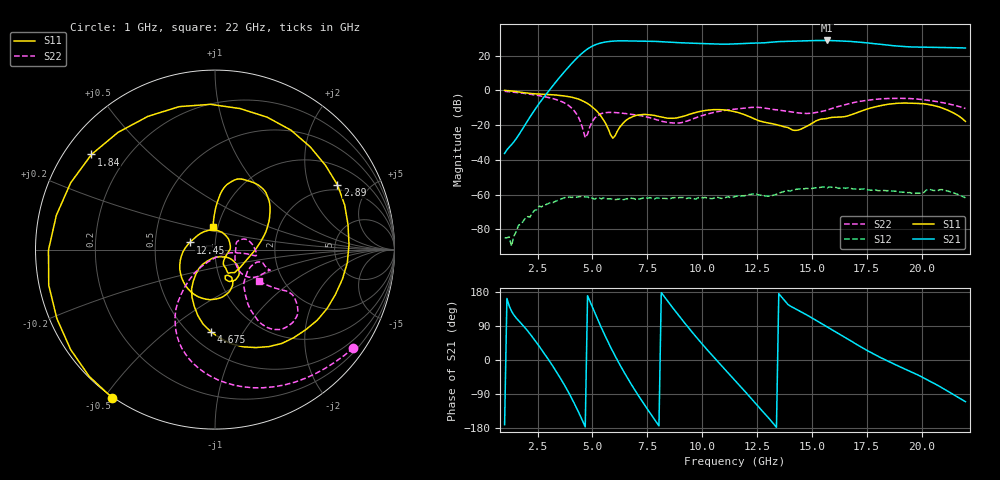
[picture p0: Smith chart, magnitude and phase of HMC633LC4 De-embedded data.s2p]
! Chelmsford, MA 01824
! http://www.hittite.com
! Tel: 978-250-3343
! Fax: 978-250-3373
! Device  :  HMC633LC4
! Description:  GaAs PHEMT MMIC DRIVER Amplifier
! Frequency  :  2.3 - 2.7 GHz
! Package  :  LC4  - 4x4 mm QFN Ceramic High frequency SMT Package: 24 pin
! Ports  :  2 RF, 2 DC
!  Pin  3 = Rfin = Port 1
!  Pin 16 = Rfout = Port 2
!  Pin 24 = Vdd1
!  Pin 22 = vdd2
!  Pin 20 = Vdd3
!  Pin 19 = Vdd4
!  Pin 9  = vgg
! Voltages:  Vdd1-4  = 5.0 Volts
!  vgg = -2 to 0.0 volts
! Currents :  Idd  = 180.0 mA
! Data:  The device was measured on evaluation board 115855-1.
!  Data was collected using a calibrated network analyzer.
!  The evaluation circuit board was modeled and simulated.  This was use
!  to removed the evaluation board circuit from the measured data.
!  The reference plane is the center of the package pin.
! Misc:  Lot # GB64
!Date Measured:  12-05-2008
! Date:  12-09-2008
! Note:
!  Hittite Microwave supplies this data as a sample of measured data at the
!  package pin for this package product.  Your particular data for this product
!  may vary.
!  Data was taken at 25 degrees C.
!  Hittite Microwave reserves the right to change this data at anytime.
# MHz S MA R 50
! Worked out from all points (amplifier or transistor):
!   201 points, 1 GHz to 22 GHz, reference 50 ohm
!   highest |S21| = 28.8 dB at 15.7 GHz (marker M1)
!   |S21| within 3 dB of that: 5.045 GHz to 18.7 GHz (13.66 GHz wide, 115 % of centre)
!   unconditionally stable (mu >= 1): 1.101 GHz to end of sweep
!   at 4.465 GHz: K = 36.87, MAG = 22.2 dB, |S12| = -61.1 dB
!   at 11.5 GHz: K = 22.37, MAG = 27.5 dB, |S12| = -61.1 dB
!   at 22 GHz: K = 33.18, MAG = 24.9 dB, |S12| = -61.8 dB
!   S11 on the Smith chart (normalised r, x): 1 GHz: -0.00, -0.52; 1.84 GHz: 0.08, +0.34; 2.89 GHz: 1.75, +3.12; 4.675 GHz: 0.63, -0.73; 12.45 GHz: 0.75, +0.06; 22 GHz: 0.95, +0.25
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1000  1.005 -124.7  0.01529 -170.6  5.711e-05 -172.8  0.9455 -35.4
1840  0.8687 142.4  0.08209 91.0  0.0001672 -24.4  0.8309 -67.0
2890  0.7717 27.8  0.7723 10.1  0.0005153 -121.4  0.6468 -100.7
3940  0.6584 -48.2  4.935 -88.0  0.0008473 174.0  0.3602 -125.2
4570  0.4962 -86.4  12.37 -162.8  0.0008896 139.1  0.07573 -118.7
4675  0.4587 -92.8  14.01 -176.5  0.0008563 134.1  0.04345 -83.2
4990  0.336 -110.1  18.76 141.1  0.0007962 120.2  0.1253 -8.4
5410  0.1744 -127.7  23.53 85.3  0.0007544 106.4  0.215 -8.5
6145  0.06848 -37.2  26.75 -1.1  0.0007319 85.5  0.228 -2.6
6985  0.1905 -44.9  26.33 -83.8  0.0007262 59.6  0.1974 13.6
8035  0.1776 -70.2  25.59 -173.7  0.0007878 25.9  0.1361 20.5
8770  0.1593 -63.8  24.04 129.7  0.0008179 3.1  0.1146 -4.1
9400  0.2037 -61.0  23.13 83.9  0.0008088 -17.6  0.1369 -33.4
10450  0.2776 -91.8  21.8 12.9  0.0007633 -54.3  0.2255 -40.8
11500  0.2436 -139.6  21.86 -53.8  0.0008788 -85.8  0.2901 -29.5
12445  0.1458 164.1  23.12 -115.3  0.001056 -127.6  0.3285 -20.3
13495  0.09844 51.4  25.49 175.0  0.0011 -151.5  0.2713 -15.6
15070  0.1192 -59.9  27.39 108.8  0.001532 -173.7  0.2251 -39.8
15700  0.1563 -55.0  27.52 87.5  0.00157 -176.7  0.2734 -53.2
17065  0.2308 1.9  24.97 40.3  0.001433 -174.9  0.4685 -58.6
18535  0.4044 41.6  19.9 -4.7  0.001306 -165.5  0.5865 -47.4
22000  0.1283 94.6  16.64 -109.9  0.0008084 -170.9  0.3024 -35.6
